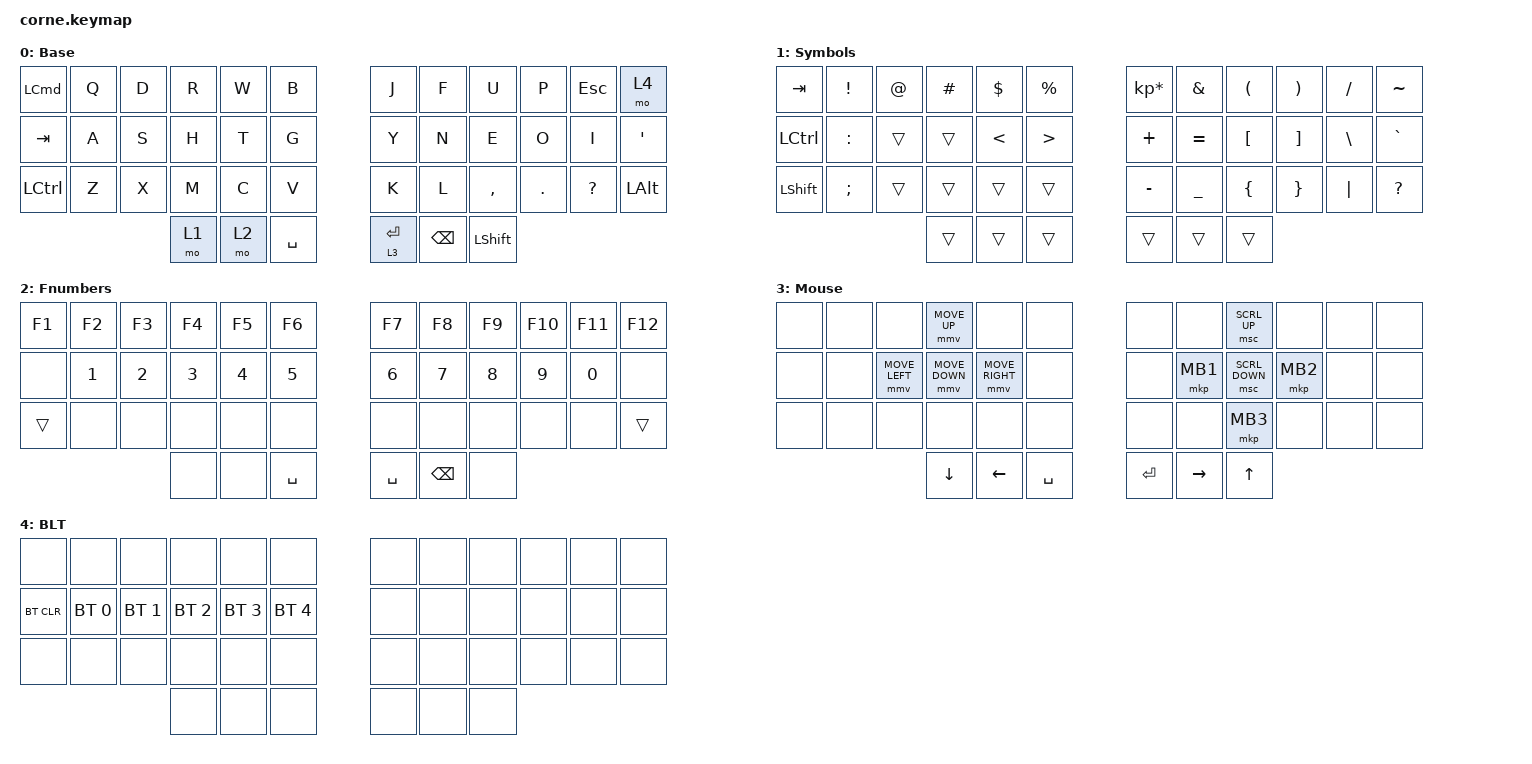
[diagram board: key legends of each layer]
/*
 * Copyright (c) 2020 The ZMK Contributors
 *
 * SPDX-License-Identifier: MIT
 */

#include <dt-bindings/zmk/mouse.h>
#include <behaviors.dtsi>
#include <dt-bindings/zmk/bt.h>
#include <dt-bindings/zmk/keys.h>
#include <dt-bindings/zmk/pointing.h>

/ {
    combos {
        compatible = "zmk,combos";

        l3 {
            bindings = <&mo 3>;
            key-positions = <36 41>;
        };
    };

    keymap {
        compatible = "zmk,keymap";

        letters {
            // -----------------------------------------------------------------------------------------
            // |  TAB |  Q  |  W  |  E  |  R  |  T  |   |  Y  |  U   |  I  |  O  |  P  | BKSP |
            // | CTRL |  A  |  S  |  D  |  F  |  G  |   |  H  |  J   |  K  |  L  |  ;  |  '   |
            // | SHFT |  Z  |  X  |  C  |  V  |  B  |   |  N  |  M   |  ,  |  .  |  /  | ESC  |
            //                    | GUI | LWR | SPC |   | ENT | RSE  | ALT |

            display-name = "Base";
            bindings = <
&kp LCMD   &kp Q  &kp D  &kp R  &kp W  &kp B        &kp J      &kp F          &kp U           &kp P    &kp ESCAPE    &mo 4
&kp TAB    &kp A  &kp S  &kp H  &kp T  &kp G        &kp Y      &kp N          &kp E           &kp O    &kp I         &kp SQT
&kp LCTRL  &kp Z  &kp X  &kp M  &kp C  &kp V        &kp K      &kp L          &kp COMMA       &kp DOT  &kp QUESTION  &kp LEFT_ALT
                         &mo 1  &mo 2  &kp SPACE    &lt 3 RET  &kp BACKSPACE  &kp LEFT_SHIFT
            >;
        };

        symbols {
            // -----------------------------------------------------------------------------------------
            // |  TAB |  !  |  @  |  #  |  $  |  %  |   |  ^  |  &  |  *  |  (  |  )  | BKSP |
            // | CTRL |     |     |     |     |     |   |  -  |  =  |  [  |  ]  |  \  |  `   |
            // | SHFT |     |     |     |     |     |   |  _  |  +  |  {  |  }  | "|" |  ~   |
            //                    | GUI |     | SPC |   | ENT |     | ALT |

            display-name = "Symbols";
            bindings = <
&kp TAB    &kp EXCL       &kp AT  &kp HASH  &kp DLLR       &kp PRCNT           &kp KP_MULTIPLY  &kp AMPS   &kp LEFT_PARENTHESIS  &kp RIGHT_PARENTHESIS  &kp SLASH  &kp TILDE
&kp LCTRL  &kp COLON      &trans  &trans    &kp LESS_THAN  &kp GREATER_THAN    &kp PLUS         &kp EQUAL  &kp LBKT              &kp RBKT               &kp BSLH   &kp GRAVE
&kp LSHFT  &kp SEMICOLON  &trans  &trans    &trans         &trans              &kp MINUS        &kp UNDER  &kp LBRC              &kp RBRC               &kp PIPE   &kp QUESTION
                                  &trans    &trans         &trans              &trans           &trans     &trans
            >;
        };

        fnumbers {
            display-name = "Fnumbers";
            bindings = <
&kp F1  &kp F2  &kp F3  &kp F4  &kp F5  &kp F6       &kp F7     &kp F8    &kp F9  &kp F10  &kp F11  &kp F12
&none   &kp N1  &kp N2  &kp N3  &kp N4  &kp N5       &kp N6     &kp N7    &kp N8  &kp N9   &kp N0   &none
&trans  &none   &none   &none   &none   &none        &none      &none     &none   &none    &none    &trans
                        &none   &none   &kp SPACE    &kp SPACE  &kp BSPC  &none
            >;
        };

        mouse {
            // -----------------------------------------------------------------------------------------
            // |  TAB |  1  |  2  |  3  |  4  |  5  |   |  6  |  7  |  8  |  9  |  0  | BKSP |
            // | BTCLR| BT1 | BT2 | BT3 | BT4 | BT5 |   | LFT | DWN |  UP | RGT |     |      |
            // | SHFT |     |     |     |     |     |   |     |     |     |     |     |      |
            //                    | GUI |     | SPC |   | ENT |     | ALT |

            display-name = "Mouse";
            bindings = <
&none  &none  &none           &mmv MOVE_UP    &none            &none        &none    &none            &msc SCRL_UP    &none     &none  &none
&none  &none  &mmv MOVE_LEFT  &mmv MOVE_DOWN  &mmv MOVE_RIGHT  &none        &none    &mkp MB1         &msc SCRL_DOWN  &mkp MB2  &none  &none
&none  &none  &none           &none           &none            &none        &none    &none            &mkp MB3        &none     &none  &none
                              &kp DOWN_ARROW  &kp LEFT_ARROW   &kp SPACE    &kp RET  &kp RIGHT_ARROW  &kp UP_ARROW
            >;
        };

        blt {
            display-name = "BLT";
            bindings = <
&none       &none         &none         &none         &none         &none           &none  &none  &none  &none  &none  &none
&bt BT_CLR  &bt BT_SEL 0  &bt BT_SEL 1  &bt BT_SEL 2  &bt BT_SEL 3  &bt BT_SEL 4    &none  &none  &none  &none  &none  &none
&none       &none         &none         &none         &none         &none           &none  &none  &none  &none  &none  &none
                                        &none         &none         &none           &none  &none  &none
            >;
        };
    };

    conditional_layers { compatible = "zmk,conditional-layers"; };
};
